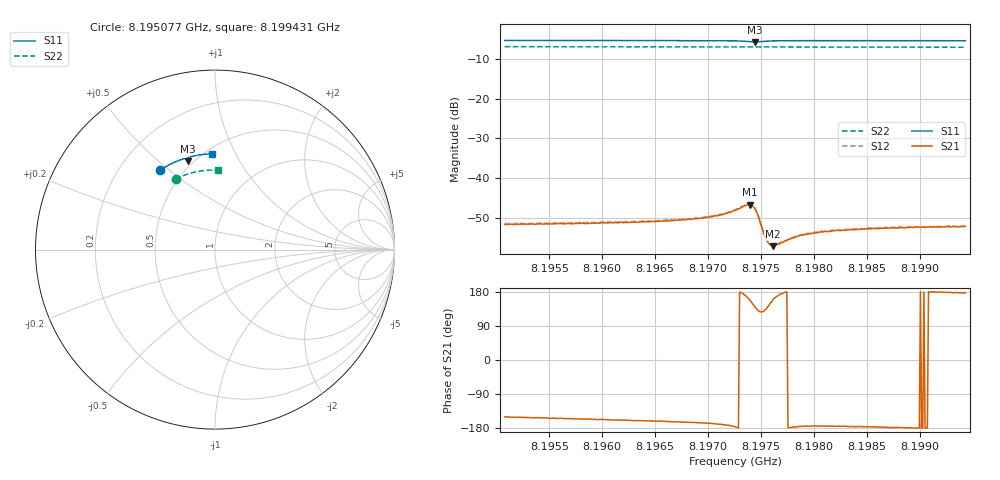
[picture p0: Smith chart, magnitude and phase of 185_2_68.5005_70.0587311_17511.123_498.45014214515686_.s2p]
#  HZ  S  RI  R  50.00
! Rohde & Schwarz Vector Network Analyzer
! Rohde-Schwarz,ZNB20-2Port,1311601062101988,3.16
! Created: UTC 3/20/2024, 5:12:00 PM
! freq[Hz]  re:S11  im:S11  re:S21  im:S21  re:S12  im:S12  re:S22  im:S22
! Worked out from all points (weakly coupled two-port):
!   401 points, 8.195077 GHz to 8.199431 GHz, reference 50 ohm
!   highest |S21| = -46.62 dB at 8.197395 GHz (marker M1); lowest = -57.1 dB at 8.197613 GHz (marker M2)
!   lowest |S11| = -5.7 dB at 8.197439 GHz (marker M3), VSWR 3.13, Z = 23.5 + j31.6 ohm
!   |S11| at or under -10 dB: nowhere
!   |S22| runs from -7.1 to -6.9 dB; largest |S21 - S12| = 0.00023
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8.1950768e9  -0.3041 0.4435  -0.00228 -0.00129  -0.00239 -0.00127  -0.2196 0.3922
8.1958061e9  -0.2598 0.4701  -0.00246 -0.00111  -0.00256 -0.00106  -0.1826 0.4096
8.1965354e9  -0.2125 0.4925  -0.00273 -0.000924  -0.00284 -0.000808  -0.1441 0.4234
8.1968292e9  -0.1922 0.5001  -0.00295 -0.000794  -0.00301 -0.000702  -0.128 0.4281
8.1970252e9  -0.1779 0.5047  -0.00318 -0.000735  -0.00329 -0.000593  -0.1172 0.4307
8.1971558e9  -0.1672 0.507  -0.00352 -0.000574  -0.00362 -0.00046  -0.1099 0.4325
8.1972537e9  -0.1581 0.5076  -0.00394 -0.000269  -0.00404 -0.000112  -0.1045 0.4334
8.1973517e9  -0.148 0.5036  -0.00449 0.000746  -0.00452 0.000957  -0.0992 0.4342
8.1973952e9  -0.1459 0.4984  -0.00432 0.00176  -0.00434 0.00199  -0.0967 0.4347
8.197417e9  -0.1469 0.4957  -0.00391 0.00229  -0.0039 0.00251  -0.0956 0.4347
8.1974388e9  -0.1492 0.4938  -0.0033 0.00263  -0.00323 0.00282  -0.0946 0.4351
8.1974714e9  -0.1535 0.4947  -0.0022 0.00256  -0.00216 0.00271  -0.0929 0.4355
8.1975259e9  -0.1557 0.5015  -0.00127 0.00158  -0.00123 0.0017  -0.09 0.4362
8.1975476e9  -0.1547 0.5041  -0.0012 0.00124  -0.00121 0.00127  -0.0889 0.4364
8.1975803e9  -0.1527 0.5073  -0.00124 0.000804  -0.00123 0.000904  -0.087 0.4368
8.1976129e9  -0.15 0.5098  -0.00131 0.000491  -0.00129 0.000602  -0.0852 0.4371
8.1977653e9  -0.1372 0.5162  -0.00171 -4.61e-05  -0.00176 2.78e-05  -0.0766 0.4386
8.1978524e9  -0.1305 0.5184  -0.00188 -0.000135  -0.0019 -6.03e-05  -0.0716 0.4393
8.197983e9  -0.1206 0.5211  -0.00202 -0.000207  -0.00205 -0.000118  -0.0643 0.4401
8.1982007e9  -0.1047 0.5246  -0.00217 -0.000187  -0.00222 -0.000107  -0.052 0.4412
8.1987123e9  -0.0682 0.5302  -0.00237 -7.52e-05  -0.00239 6.08e-06  -0.023 0.4429
8.1994306e9  -0.0171 0.5335  -0.00249 0.000118  -0.00249 0.000228  0.0178 0.4417
